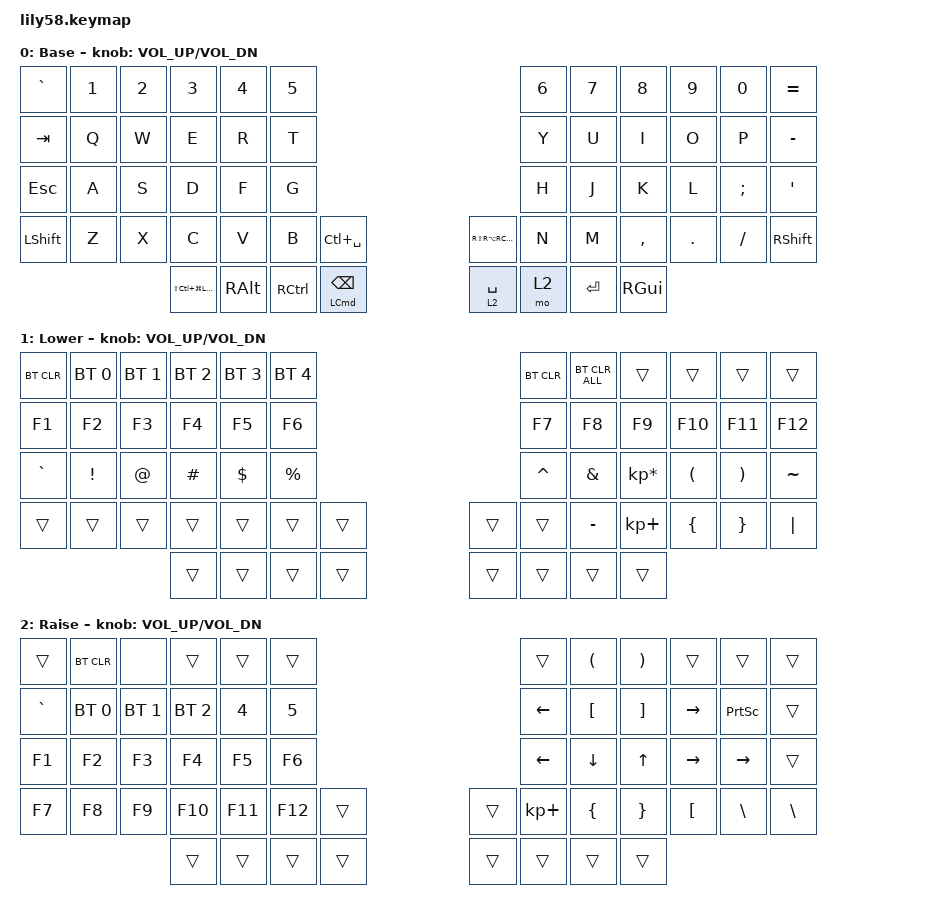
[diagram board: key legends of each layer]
/*
 * Copyright (c) 2020 The ZMK Contributors
 *
 * SPDX-License-Identifier: MIT
 */

#include <behaviors.dtsi>
#include <dt-bindings/zmk/bt.h>
#include <dt-bindings/zmk/keys.h>

/ {
    keymap {
        compatible = "zmk,keymap";

        default_layer {
            // ------------------------------------------------------------------------------------------------------------
            // |  ESC  |  1  |  2  |  3   |  4   |  5   |                   |  6   |  7    |  8    |  9   |   0   |   `   |
            // |  TAB  |  Q  |  W  |  E   |  R   |  T   |                   |  Y   |  U    |  I    |  O   |   P   |   -   |
            // |  CTRL |  A  |  S  |  D   |  F   |  G   |                   |  H   |  J    |  K    |  L   |   ;   |   '   |
            // | SHIFT |  Z  |  X  |  C   |  V   |  B   |   "["  |  |  "]"  |  N   |  M    |  ,    |  .   |   /   | SHIFT |
            //                     | ALT  | GUI  | LOWER|  SPACE |  | ENTER | RAISE| BSPC  | GUI   |

            display-name = "Base";
            bindings = <
&kp GRAVE   &kp N1  &kp N2  &kp N3                &kp N4         &kp N5                                                         &kp N6  &kp N7   &kp N8     &kp N9   &kp N0    &kp EQUAL
&kp TAB     &kp Q   &kp W   &kp E                 &kp R          &kp T                                                          &kp Y   &kp U    &kp I      &kp O    &kp P     &kp MINUS
&kp ESCAPE  &kp A   &kp S   &kp D                 &kp F          &kp G                                                          &kp H   &kp J    &kp K      &kp L    &kp SEMI  &kp SQT
&kp LSHFT   &kp Z   &kp X   &kp C                 &kp V          &kp B      &kp LC(SPACE)                 &kp RS(RA(RC(RGUI)))  &kp N   &kp M    &kp COMMA  &kp DOT  &kp FSLH  &kp RSHFT
                            &kp LS(LC(LG(LALT)))  &kp RIGHT_ALT  &kp RCTRL  &mt LEFT_COMMAND BACKSPACE    &lt 2 SPACE           &mo 2   &kp RET  &kp RGUI
            >;

            sensor-bindings = <&inc_dec_kp C_VOL_UP C_VOL_DN>;
        };

        lower_layer {
            // ------------------------------------------------------------------------------------------------------------
            // | BTCLR | BT1 | BT2 |  BT3 |  BT4 |  BT5 |                   |      |       |       |      |       |       |
            // |  F1   |  F2 |  F3 |  F4  |  F5  |  F6  |                   |  F7  |  F8   |  F9   |  F10 |  F11  |  F12  |
            // |   `   |  !  |  @  |  #   |  $   |  %   |                   |  ^   |  &    |  *    |  (   |   )   |   ~   |
            // |       |     |     |      |      |      |        |  |       |      |  _    |  +    |  {   |   }   |  "|"  |
            //                     |      |      |      |        |  |       |      |       |       |

            display-name = "Lower";
            bindings = <
&bt BT_CLR  &bt BT_SEL 0  &bt BT_SEL 1  &bt BT_SEL 2  &bt BT_SEL 3  &bt BT_SEL 4                    &bt BT_CLR  &bt BT_CLR_ALL  &trans           &trans    &trans    &trans
&kp F1      &kp F2        &kp F3        &kp F4        &kp F5        &kp F6                          &kp F7      &kp F8          &kp F9           &kp F10   &kp F11   &kp F12
&kp GRAVE   &kp EXCL      &kp AT        &kp HASH      &kp DOLLAR    &kp PRCNT                       &kp CARET   &kp AMPS        &kp KP_MULTIPLY  &kp LPAR  &kp RPAR  &kp TILDE
&trans      &trans        &trans        &trans        &trans        &trans        &trans    &trans  &trans      &kp MINUS       &kp KP_PLUS      &kp LBRC  &kp RBRC  &kp PIPE
                                        &trans        &trans        &trans        &trans    &trans  &trans      &trans          &trans
            >;

            sensor-bindings = <&inc_dec_kp C_VOL_UP C_VOL_DN>;
        };

        raise_layer {
            // ------------------------------------------------------------------------------------------------------------
            // |       |     |     |      |      |      |                   |      |       |       |      |       |       |
            // |   `   |  1  |  2  |  3   |  4   |  5   |                   |  6   |   7   |   8   |  9   |   0   |       |
            // |   F1  |  F2 |  F3 |  F4  |  F5  |  F6  |                   |      |   <-  |   v   |  ^   |  ->   |       |
            // |   F7  |  F8 |  F9 |  F10 |  F11 |  F12 |        |  |       |  +   |   -   |   =   |  [   |   ]   |   \   |
            //                     |      |      |      |        |  |       |      |       |       |

            display-name = "Raise";
            bindings = <
&trans     &bt BT_CLR    &none         &trans        &trans   &trans                     &trans          &kp LEFT_PARENTHESIS  &kp RIGHT_PARENTHESIS  &trans           &trans           &trans
&kp GRAVE  &bt BT_SEL 0  &bt BT_SEL 1  &bt BT_SEL 2  &kp N4   &kp N5                     &kp LEFT        &kp LEFT_BRACKET      &kp RIGHT_BRACKET      &kp RIGHT        &kp PRINTSCREEN  &trans
&kp F1     &kp F2        &kp F3        &kp F4        &kp F5   &kp F6                     &kp LEFT_ARROW  &kp DOWN_ARROW        &kp UP_ARROW           &kp RIGHT_ARROW  &kp RIGHT        &trans
&kp F7     &kp F8        &kp F9        &kp F10       &kp F11  &kp F12  &trans    &trans  &kp KP_PLUS     &kp LEFT_BRACE        &kp RIGHT_BRACE        &kp LBKT         &kp BACKSLASH    &kp BSLH
                                       &trans        &trans   &trans   &trans    &trans  &trans          &trans                &trans
            >;

            sensor-bindings = <&inc_dec_kp C_VOL_UP C_VOL_DN>;
        };

        extra_1 { status = "reserved"; };

        extra_2 { status = "reserved"; };

        extra_3 { status = "reserved"; };
    };
};
